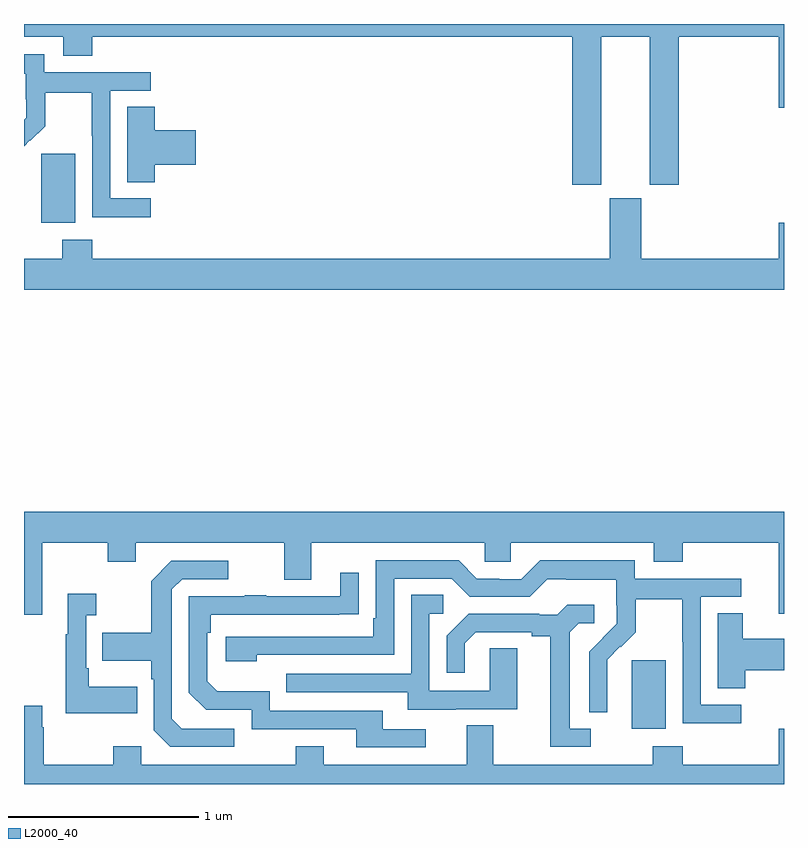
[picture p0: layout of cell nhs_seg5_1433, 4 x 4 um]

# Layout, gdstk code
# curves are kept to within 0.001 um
import gdstk
lib = gdstk.Library(unit=1e-6, precision=1e-09)
def R(c, l, rs):  # rectangles x0, y0, x1, y1
    for r in rs: c.add(gdstk.rectangle(r[:2], r[2:], *l))
def P(c, l, *ps):  # polygons
    for p in ps: c.add(gdstk.Polygon(p, *l))
L2000_40 = (2000, 40)

nhs_seg5_1433 = lib.new_cell('nhs_seg5_1433')
R(nhs_seg5_1433, L2000_40, [(200.198,881.09,200.377,881.451), (197.09,883.754,197.269,884.115)])
P(nhs_seg5_1433, L2000_40, [(200.038,884.732),(200.294,884.732),(200.294,883.953),(200.447,883.953),(200.447,884.732),(200.972,884.732),(200.972,884.358),(201,884.358),(201,884.799),(197,884.799),(197,884.732),(197.207,884.732),(197.207,884.633),(197.36,884.633),(197.36,884.732),(199.886,884.732),(199.886,883.953),(200.038,883.953)],
  [(197.668,883.881),(197.454,883.881),(197.454,884.448),(197.668,884.448),(197.668,884.544),(197.106,884.544),(197.106,884.641),(197,884.641),(197,884.537),(197.01,884.537),(197.01,884.403),(197.012,884.403),(197.012,884.306),(197,884.294),(197,884.156),(197.031,884.187),(197.034,884.184),(197.111,884.261),(197.111,884.436),(197.356,884.436),(197.356,884.212),(197.358,884.212),(197.358,883.783),(197.668,883.783)],
  [(197.687,884.057),(197.905,884.057),(197.905,884.24),(197.687,884.24),(197.687,884.363),(197.543,884.363),(197.543,883.966),(197.687,883.966)],
  [(201,883.753),(200.972,883.753),(200.972,883.564),(200.248,883.564),(200.248,883.881),(200.084,883.881),(200.084,883.564),(197.36,883.564),(197.36,883.663),(197.2,883.663),(197.2,883.564),(197,883.564),(197,883.4),(201,883.4)],
  [(197.095,882.068),(197.44,882.068),(197.44,881.969),(197.587,881.969),(197.587,882.068),(198.371,882.068),(198.371,881.874),(198.511,881.874),(198.511,882.068),(199.425,882.068),(199.425,881.97),(199.563,881.97),(199.563,882.068),(200.315,882.068),(200.315,881.969),(200.468,881.969),(200.468,882.068),(200.972,882.068),(200.972,881.694),(201,881.694),(201,882.232),(197,882.232),(197,881.691),(197.095,881.691)],
  [(200.776,881.217),(200.562,881.217),(200.562,881.784),(200.776,881.784),(200.776,881.88),(200.214,881.88),(200.214,881.977),(199.717,881.977),(199.617,881.877),(199.502,881.877),(199.502,881.88),(199.383,881.88),(199.287,881.976),(198.852,881.976),(198.852,881.671),(198.839,881.671),(198.839,881.574),(198.063,881.574),(198.063,881.444),(198.224,881.444),(198.224,881.478),(198.948,881.478),(198.948,881.88),(199.251,881.88),(199.347,881.784),(199.662,881.784),(199.755,881.877),(199.855,881.877),(199.855,881.873),(200.118,881.873),(200.118,881.739),(200.12,881.739),(200.12,881.642),(199.974,881.494),(199.974,881.176),(200.07,881.176),(200.069,881.453),(200.139,881.523),(200.142,881.52),(200.219,881.597),(200.219,881.772),(200.464,881.772),(200.464,881.548),(200.466,881.548),(200.466,881.119),(200.776,881.119)],
  [(198.106,881.091),(197.829,881.091),(197.778,881.142),(197.778,881.823),(197.832,881.877),(198.076,881.877),(198.076,881.973),(197.775,881.973),(197.67,881.867),(197.67,881.595),(197.413,881.595),(197.413,881.447),(197.67,881.447),(197.67,881.351),(197.682,881.351),(197.682,881.082),(197.769,880.995),(198.106,880.995)],
  [(199.114,881.088),(198.889,881.088),(198.889,881.184),(198.294,881.184),(198.294,881.287),(198.017,881.287),(197.964,881.34),(197.964,881.594),(197.984,881.594),(197.984,881.691),(198.761,881.692),(198.761,881.911),(198.665,881.911),(198.665,881.787),(198.275,881.787),(198.275,881.792),(198.163,881.792),(198.163,881.787),(197.868,881.787),(197.868,881.28),(197.958,881.19),(198.198,881.19),(198.198,881.088),(198.749,881.088),(198.749,880.992),(199.114,880.992)],
  [(197.597,881.311),(197.341,881.311),(197.341,881.407),(197.328,881.407),(197.328,881.687),(197.38,881.687),(197.38,881.8),(197.231,881.8),(197.231,881.587),(197.22,881.587),(197.22,881.171),(197.597,881.171)],
  [(199.273,881.193),(199.597,881.193),(199.597,881.513),(199.452,881.513),(199.452,881.289),(199.134,881.289),(199.134,881.694),(199.207,881.694),(199.207,881.795),(199.038,881.795),(199.038,881.379),(198.379,881.379),(198.379,881.283),(199.019,881.283),(199.019,881.189),(199.273,881.189)],
  [(199.984,881.091),(199.873,881.091),(199.873,881.599),(199.92,881.646),(200.002,881.646),(200.002,881.743),(199.858,881.743),(199.806,881.691),(199.712,881.691),(199.712,881.694),(199.34,881.694),(199.224,881.578),(199.224,881.385),(199.321,881.385),(199.321,881.541),(199.378,881.598),(199.673,881.598),(199.673,881.576),(199.769,881.576),(199.769,880.995),(199.984,880.995)],
  [(200.795,881.398),(201,881.398),(201,881.563),(200.782,881.563),(200.782,881.699),(200.651,881.699),(200.651,881.302),(200.795,881.302)],
  [(201,881.089),(200.972,881.089),(200.972,880.9),(200.468,880.9),(200.468,880.999),(200.308,880.999),(200.308,880.9),(199.471,880.9),(199.471,881.108),(199.331,881.108),(199.331,880.9),(198.577,880.9),(198.577,880.999),(198.43,880.999),(198.43,880.9),(197.616,880.9),(197.616,880.999),(197.47,880.999),(197.47,880.9),(197.103,880.9),(197.103,881.099),(197.095,881.099),(197.095,881.212),(197,881.212),(197,880.799),(201,880.799)])

lib.write_gds('nhs_seg5_1433.gds')
